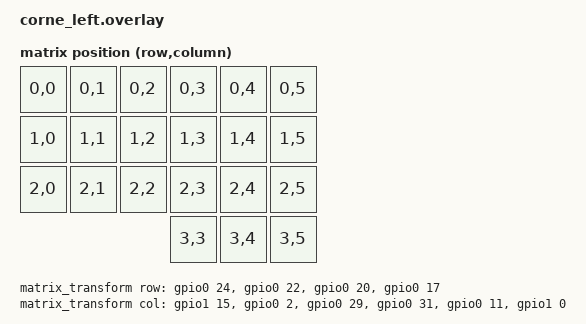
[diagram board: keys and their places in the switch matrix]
#include <dt-bindings/zmk/matrix_transform.h>

&chosen {
    zmk,kscan = &kscan0;
    zmk,matrix-transform = &matrix_transform;
    zmk,studio-rpc-uart = &uart1;
};

keyboard {
    compatible = "zmk,keyboard";
    diode-direction = <COL2ROW>;


    col-gpios = <&gpio1 15 GPIO_ACTIVE_LOW>,  
                <&gpio0 2 GPIO_ACTIVE_LOW>, 
                <&gpio0 29 GPIO_ACTIVE_LOW>, 
                <&gpio0 31 GPIO_ACTIVE_LOW>, 
                <&gpio0 11 GPIO_ACTIVE_LOW>,  
                <&gpio1 0 GPIO_ACTIVE_LOW>; 

    row-gpios = <&gpio0 24 GPIO_ACTIVE_LOW>, 
                <&gpio0 22 GPIO_ACTIVE_LOW>, 
                <&gpio0 20 GPIO_ACTIVE_LOW>, 
                <&gpio0 17 GPIO_ACTIVE_LOW>; 
};

matrix_transform: matrix_transform {
    compatible = "zmk,matrix-transform";
    rows = <4>;
    columns = <6>;
    map = <
            RC(0,0) RC(0,1) RC(0,2) RC(0,3) RC(0,4) RC(0,5)
            RC(1,0) RC(1,1) RC(1,2) RC(1,3) RC(1,4) RC(1,5)
            RC(2,0) RC(2,1) RC(2,2) RC(2,3) RC(2,4) RC(2,5)
                                    RC(3,3) RC(3,4) RC(3,5)
        >;
};
